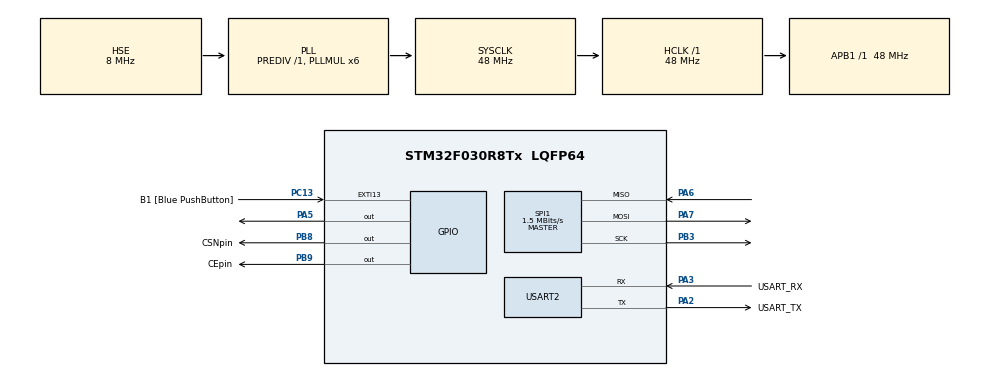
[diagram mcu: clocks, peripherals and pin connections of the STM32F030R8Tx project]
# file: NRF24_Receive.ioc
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Mcu.Family=STM32F0
Mcu.Name=STM32F030R8Tx
Mcu.Package=LQFP64
PA13.GPIO_Label=TMS
PA13.Mode=Serial_Wire
PA13.Signal=SYS_SWDIO
PA14.GPIO_Label=TCK
PA14.Mode=Serial_Wire
PA14.Signal=SYS_SWCLK
PA2.GPIO_Label=USART_TX
PA2.GPIO_Mode=GPIO_MODE_AF_PP
PA2.GPIO_PuPd=GPIO_NOPULL
PA2.GPIO_Speed=GPIO_SPEED_FREQ_LOW
PA2.Mode=Asynchronous
PA2.Signal=USART2_TX
PA3.GPIO_Label=USART_RX
PA3.GPIO_Mode=GPIO_MODE_AF_PP
PA3.GPIO_PuPd=GPIO_NOPULL
PA3.GPIO_Speed=GPIO_SPEED_FREQ_LOW
PA3.Mode=Asynchronous
PA3.Signal=USART2_RX
PA5.Signal=GPIO_Output
PA6.Mode=Full_Duplex_Master
PA6.Signal=SPI1_MISO
PA7.Mode=Full_Duplex_Master
PA7.Signal=SPI1_MOSI
PB3.Mode=Full_Duplex_Master
PB3.Signal=SPI1_SCK
PB8.GPIO_Label=CSNpin
PB8.Signal=GPIO_Output
PB9.GPIO_Label=CEpin
PB9.Signal=GPIO_Output
PC13.GPIO_Label=B1 [Blue PushButton]
PC13.GPIO_ModeDefaultEXTI=GPIO_MODE_IT_FALLING
PC13.Signal=GPXTI13
PC14-OSC32_IN.Mode=LSE-External-Oscillator
PC14-OSC32_IN.Signal=RCC_OSC32_IN
PC15-OSC32_OUT.Mode=LSE-External-Oscillator
PC15-OSC32_OUT.Signal=RCC_OSC32_OUT
PF0-OSC_IN.Mode=HSE-External-Clock-Source
PF0-OSC_IN.Signal=RCC_OSC_IN
PF1-OSC_OUT.Signal=RCC_OSC_OUT
ProjectManager.HeapSize=0x200
ProjectManager.StackSize=0x400
ProjectManager.TargetToolchain=STM32CubeIDE
RCC.AHBFreq_Value=48000000
RCC.APB1Freq_Value=48000000
RCC.APB1TimFreq_Value=48000000
RCC.HCLKFreq_Value=48000000
RCC.PLLMUL=RCC_PLL_MUL6
RCC.PLLSourceVirtual=RCC_PLLSOURCE_HSE
RCC.SYSCLKFreq_VALUE=48000000
RCC.SYSCLKSource=RCC_SYSCLKSOURCE_PLLCLK
SPI1.BaudRatePrescaler=SPI_BAUDRATEPRESCALER_32
SPI1.CalculateBaudRate=1.5 MBits/s
SPI1.DataSize=SPI_DATASIZE_8BIT
SPI1.Direction=SPI_DIRECTION_2LINES
SPI1.Mode=SPI_MODE_MASTER
SPI1.VirtualType=VM_MASTER
USART2.VirtualMode-Asynchronous=VM_ASYNC
board=NUCLEO-F030R8

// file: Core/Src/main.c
/* USER CODE BEGIN Header */
/**
  ******************************************************************************
  * @file           : main.c
  * @brief          : Main program body
  ******************************************************************************
  * @attention
  *
  * <h2><center>&copy; Copyright (c) 2021 STMicroelectronics.
  * All rights reserved.</center></h2>
  *
  * This software component is licensed by ST under BSD 3-Clause license,
  * the "License"; You may not use this file except in compliance with the
  * License. You may obtain a copy of the License at:
  *                        opensource.org/licenses/BSD-3-Clause
  *
  ******************************************************************************
  */
/* USER CODE END Header */
#include "main.h"

/* USER CODE BEGIN Includes */
#include "MY_NRF24.h"
/* USER CODE END Includes */

SPI_HandleTypeDef hspi1;

UART_HandleTypeDef huart2;

void SystemClock_Config(void);
static void MX_GPIO_Init(void);
static void MX_USART2_UART_Init(void);
static void MX_SPI1_Init(void);

/* USER CODE BEGIN 0 */
uint64_t RxpipeAddrs = 0x11223344AA;
char myRxData[50];

int _write(int file, char *outgoing, int len) {
   HAL_UART_Transmit(&huart2, outgoing, len, 100);
   return len;
}
/* USER CODE END 0 */

int main(void)
{

  /* MCU Configuration--------------------------------------------------------*/

  /* Reset of all peripherals, Initializes the Flash interface and the Systick. */
  HAL_Init();

  /* Configure the system clock */
  SystemClock_Config();

  /* Initialize all configured peripherals */
  MX_GPIO_Init();
  MX_USART2_UART_Init();
  MX_SPI1_Init();
  /* USER CODE BEGIN 2 */
  NRF24_begin(CEpin_GPIO_Port, CSNpin_Pin, CEpin_Pin, hspi1);

  nrf24_DebugUART_Init(huart2);

  NRF24_setAutoAck(false);
  NRF24_setChannel(52);
  NRF24_setPayloadSize(32);
  NRF24_openReadingPipe(1, RxpipeAddrs);
  NRF24_startListening();
  printRadioSettings();
  /* USER CODE END 2 */

  /* Infinite loop */
  while (1)
  {

    /* USER CODE BEGIN 3 */
	if(NRF24_available()){
		NRF24_read(myRxData, 32);

		printf("%s \r\n", myRxData);
	}
  }
  /* USER CODE END 3 */
}

void SystemClock_Config(void)
{
  RCC_OscInitTypeDef RCC_OscInitStruct = {0};
  RCC_ClkInitTypeDef RCC_ClkInitStruct = {0};

  /** Initializes the RCC Oscillators according to the specified parameters
  * in the RCC_OscInitTypeDef structure.
  */
  RCC_OscInitStruct.OscillatorType = RCC_OSCILLATORTYPE_HSE;
  RCC_OscInitStruct.HSEState = RCC_HSE_BYPASS;
  RCC_OscInitStruct.PLL.PLLState = RCC_PLL_ON;
  RCC_OscInitStruct.PLL.PLLSource = RCC_PLLSOURCE_HSE;
  RCC_OscInitStruct.PLL.PLLMUL = RCC_PLL_MUL6;
  RCC_OscInitStruct.PLL.PREDIV = RCC_PREDIV_DIV1;
  if (HAL_RCC_OscConfig(&RCC_OscInitStruct) != HAL_OK)
  {
    Error_Handler();
  }
  /** Initializes the CPU, AHB and APB buses clocks
  */
  RCC_ClkInitStruct.ClockType = RCC_CLOCKTYPE_HCLK|RCC_CLOCKTYPE_SYSCLK
                              |RCC_CLOCKTYPE_PCLK1;
  RCC_ClkInitStruct.SYSCLKSource = RCC_SYSCLKSOURCE_PLLCLK;
  RCC_ClkInitStruct.AHBCLKDivider = RCC_SYSCLK_DIV1;
  RCC_ClkInitStruct.APB1CLKDivider = RCC_HCLK_DIV1;

  if (HAL_RCC_ClockConfig(&RCC_ClkInitStruct, FLASH_LATENCY_1) != HAL_OK)
  {
    Error_Handler();
  }
}

static void MX_SPI1_Init(void)
{

  /* SPI1 parameter configuration*/
  hspi1.Instance = SPI1;
  hspi1.Init.Mode = SPI_MODE_MASTER;
  hspi1.Init.Direction = SPI_DIRECTION_2LINES;
  hspi1.Init.DataSize = SPI_DATASIZE_8BIT;
  hspi1.Init.CLKPolarity = SPI_POLARITY_LOW;
  hspi1.Init.CLKPhase = SPI_PHASE_1EDGE;
  hspi1.Init.NSS = SPI_NSS_SOFT;
  hspi1.Init.BaudRatePrescaler = SPI_BAUDRATEPRESCALER_32;
  hspi1.Init.FirstBit = SPI_FIRSTBIT_MSB;
  hspi1.Init.TIMode = SPI_TIMODE_DISABLE;
  hspi1.Init.CRCCalculation = SPI_CRCCALCULATION_DISABLE;
  hspi1.Init.CRCPolynomial = 7;
  hspi1.Init.CRCLength = SPI_CRC_LENGTH_DATASIZE;
  hspi1.Init.NSSPMode = SPI_NSS_PULSE_ENABLE;
  if (HAL_SPI_Init(&hspi1) != HAL_OK)
  {
    Error_Handler();
  }

}

static void MX_USART2_UART_Init(void)
{

  huart2.Instance = USART2;
  huart2.Init.BaudRate = 38400;
  huart2.Init.WordLength = UART_WORDLENGTH_8B;
  huart2.Init.StopBits = UART_STOPBITS_1;
  huart2.Init.Parity = UART_PARITY_NONE;
  huart2.Init.Mode = UART_MODE_TX_RX;
  huart2.Init.HwFlowCtl = UART_HWCONTROL_NONE;
  huart2.Init.OverSampling = UART_OVERSAMPLING_16;
  huart2.Init.OneBitSampling = UART_ONE_BIT_SAMPLE_DISABLE;
  huart2.AdvancedInit.AdvFeatureInit = UART_ADVFEATURE_NO_INIT;
  if (HAL_UART_Init(&huart2) != HAL_OK)
  {
    Error_Handler();
  }

}

static void MX_GPIO_Init(void)
{
  GPIO_InitTypeDef GPIO_InitStruct = {0};

  /* GPIO Ports Clock Enable */
  __HAL_RCC_GPIOC_CLK_ENABLE();
  __HAL_RCC_GPIOF_CLK_ENABLE();
  __HAL_RCC_GPIOA_CLK_ENABLE();
  __HAL_RCC_GPIOB_CLK_ENABLE();

  /*Configure GPIO pin Output Level */
  HAL_GPIO_WritePin(GPIOA, GPIO_PIN_5, GPIO_PIN_RESET);

  /*Configure GPIO pin Output Level */
  HAL_GPIO_WritePin(GPIOB, CSNpin_Pin|CEpin_Pin, GPIO_PIN_RESET);

  /*Configure GPIO pin : B1_Pin */
  GPIO_InitStruct.Pin = B1_Pin;
  GPIO_InitStruct.Mode = GPIO_MODE_IT_FALLING;
  GPIO_InitStruct.Pull = GPIO_NOPULL;
  HAL_GPIO_Init(B1_GPIO_Port, &GPIO_InitStruct);

  /*Configure GPIO pin : PA5 */
  GPIO_InitStruct.Pin = GPIO_PIN_5;
  GPIO_InitStruct.Mode = GPIO_MODE_OUTPUT_PP;
  GPIO_InitStruct.Pull = GPIO_NOPULL;
  GPIO_InitStruct.Speed = GPIO_SPEED_FREQ_LOW;
  HAL_GPIO_Init(GPIOA, &GPIO_InitStruct);

  /*Configure GPIO pins : CSNpin_Pin CEpin_Pin */
  GPIO_InitStruct.Pin = CSNpin_Pin|CEpin_Pin;
  GPIO_InitStruct.Mode = GPIO_MODE_OUTPUT_PP;
  GPIO_InitStruct.Pull = GPIO_NOPULL;
  GPIO_InitStruct.Speed = GPIO_SPEED_FREQ_LOW;
  HAL_GPIO_Init(GPIOB, &GPIO_InitStruct);

}

void Error_Handler(void)
{
  __disable_irq();
  while (1)
  {
  }
}

/************************ (C) COPYRIGHT STMicroelectronics *****END OF FILE****/
